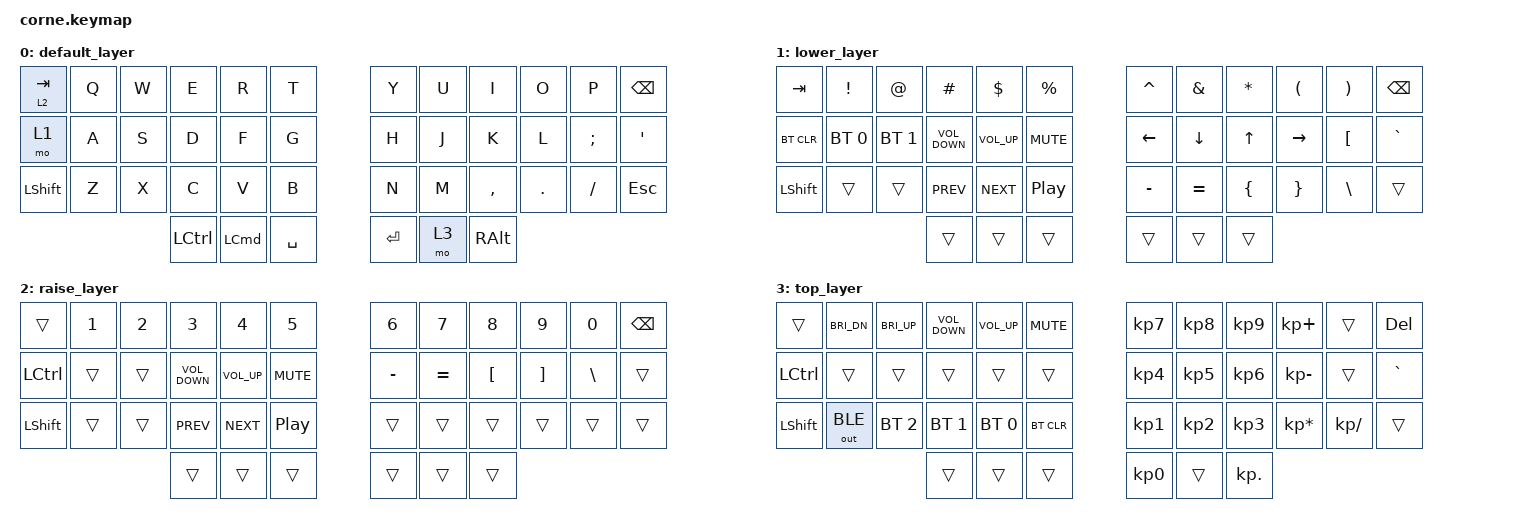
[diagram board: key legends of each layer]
/*
 * Copyright (c) 2020 The ZMK Contributors
 *
 * SPDX-License-Identifier: MIT
 */

#include <behaviors.dtsi>
#include <dt-bindings/zmk/bt.h>
#include <dt-bindings/zmk/keys.h>
#include <dt-bindings/zmk/outputs.h>

/ {
    keymap {
        compatible = "zmk,keymap";

        default_layer {
            // -----------------------------------------------------------------------------------------
            // |  TAB |  Q  |  W  |  E  |  R  |  T  |   |  Y  |  U   |  I  |  O  |  P  | BSPC |
            // | CTRL |  A  |  S  |  D  |  F  |  G  |   |  H  |  J   |  K  |  L  |  ;  |  '   |
            // | SHFT |  Z  |  X  |  C  |  V  |  B  |   |  N  |  M   |  ,  |  .  |  /  | ESC  |
            //                    | GUI | LWR | SPC |   | ENT | RSE  | ALT |

            bindings = <
&lt 2 TAB  &kp Q  &kp W  &kp E             &kp R             &kp T        &kp Y    &kp U  &kp I      &kp O    &kp P     &kp BSPC
&mo 1      &kp A  &kp S  &kp D             &kp F             &kp G        &kp H    &kp J  &kp K      &kp L    &kp SEMI  &kp SQT
&kp LSHFT  &kp Z  &kp X  &kp C             &kp V             &kp B        &kp N    &kp M  &kp COMMA  &kp DOT  &kp FSLH  &kp ESC
                         &kp LEFT_CONTROL  &kp LEFT_COMMAND  &kp SPACE    &kp RET  &mo 3  &kp RALT
            >;
        };

        lower_layer {
            // -----------------------------------------------------------------------------------------
            // |  TAB |  1  |  2  |  3  |  4  |  5  |   |  6  |  7  |  8  |  9  |  0  | BSPC |
            // | BTCLR| BT1 | BT2 | BT3 | BT4 | BT5 |   | LFT | DWN |  UP | RGT |     |      |
            // | SHFT |     |     |     |     |     |   |     |     |     |     |     |      |
            //                    | GUI |     | SPC |   | ENT |     | ALT |

            bindings = <
&kp TAB     &kp EXCLAMATION  &kp AT_SIGN   &kp HASH           &kp DOLLAR       &kp PERCENT    &kp CARET  &kp AMPERSAND  &kp ASTERISK    &kp LEFT_PARENTHESIS  &kp RIGHT_PARENTHESIS  &kp BSPC
&bt BT_CLR  &bt BT_SEL 0     &bt BT_SEL 1  &kp C_VOLUME_DOWN  &kp C_VOLUME_UP  &kp K_MUTE     &kp LEFT   &kp DOWN       &kp UP          &kp RIGHT             &kp LEFT_BRACKET       &kp GRAVE
&kp LSHFT   &trans           &trans        &kp C_PREV         &kp C_NEXT       &kp C_PP       &kp MINUS  &kp EQUAL      &kp LEFT_BRACE  &kp RIGHT_BRACE       &kp BACKSLASH          &trans
                                           &trans             &trans           &trans         &trans     &trans         &trans
            >;
        };

        raise_layer {
            // -----------------------------------------------------------------------------------------
            // |  TAB |  !  |  @  |  #  |  $  |  %  |   |  ^  |  &  |  *  |  (  |  )  | BSPC |
            // | CTRL |     |     |     |     |     |   |  -  |  =  |  [  |  ]  |  \  |  `   |
            // | SHFT |     |     |     |     |     |   |  _  |  +  |  {  |  }  | "|" |  ~   |
            //                    | GUI |     | SPC |   | ENT |     | ALT |

            bindings = <
&trans     &kp NUMBER_1  &kp NUMBER_2  &kp NUMBER_3       &kp NUMBER_4     &kp N5        &kp NUMBER_6  &kp N7     &kp N8    &kp N9    &kp N0    &kp BSPC
&kp LCTRL  &trans        &trans        &kp C_VOLUME_DOWN  &kp C_VOLUME_UP  &kp K_MUTE    &kp MINUS     &kp EQUAL  &kp LBKT  &kp RBKT  &kp BSLH  &trans
&kp LSHFT  &trans        &trans        &kp C_PREV         &kp C_NEXT       &kp C_PP      &trans        &trans     &trans    &trans    &trans    &trans
                                       &trans             &trans           &trans        &trans        &trans     &trans
            >;
        };

        top_layer {
            bindings = <
&trans          &kp C_BRI_DN  &kp C_BRI_UP  &kp C_VOLUME_DOWN  &kp C_VOLUME_UP  &kp K_MUTE    &kp KP_NUMBER_7  &kp KP_NUMBER_8  &kp KP_NUMBER_9  &kp KP_PLUS      &trans        &kp DELETE
&kp LCTRL       &trans        &trans        &trans             &trans           &trans        &kp KP_N4        &kp KP_N5        &kp KP_NUMBER_6  &kp KP_MINUS     &trans        &kp GRAVE
&kp LEFT_SHIFT  &out OUT_BLE  &bt BT_SEL 2  &bt BT_SEL 1       &bt BT_SEL 0     &bt BT_CLR    &kp KP_N1        &kp KP_N2        &kp KP_N3        &kp KP_MULTIPLY  &kp KP_SLASH  &trans
                                            &trans             &trans           &trans        &kp KP_NUMBER_0  &trans           &kp KP_DOT
            >;
        };
    };
};
